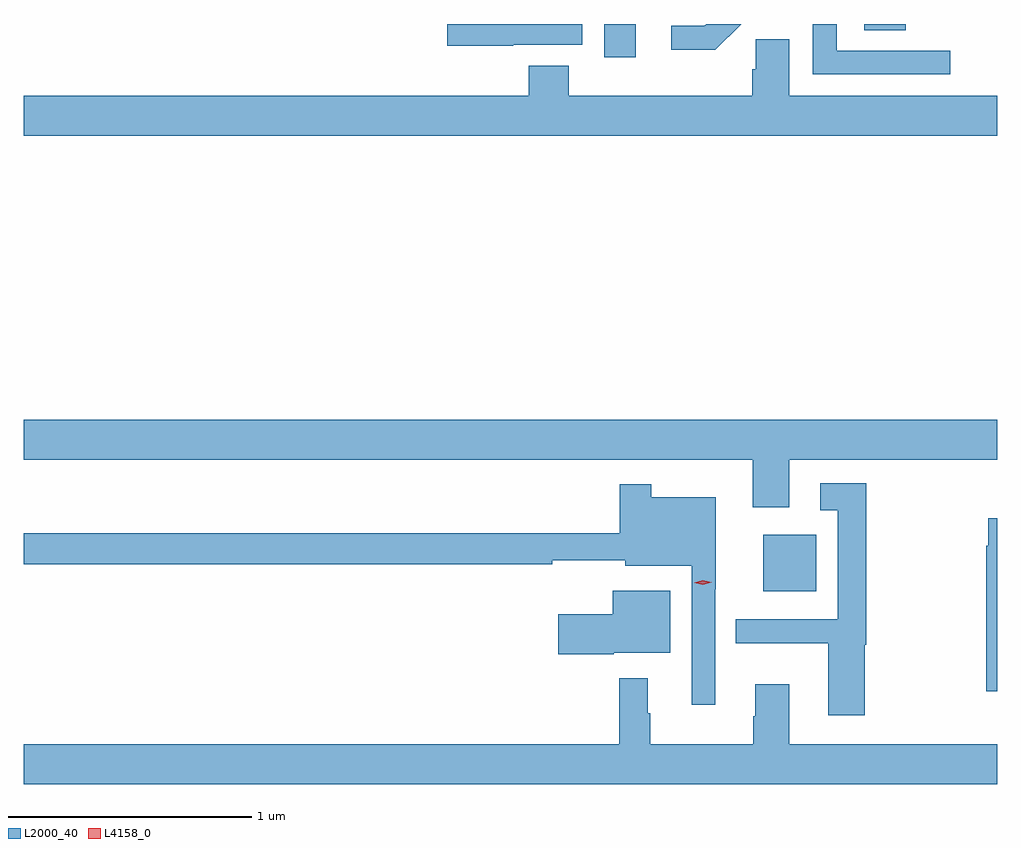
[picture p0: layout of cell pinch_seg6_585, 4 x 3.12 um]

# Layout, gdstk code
import gdstk
lib = gdstk.Library(unit=1e-6, precision=1e-09)
def R(c, l, rs):  # rectangles x0, y0, x1, y1
    for r in rs: c.add(gdstk.rectangle(r[:2], r[2:], *l))
def P(c, l, *ps):  # polygons
    for p in ps: c.add(gdstk.Polygon(p, *l))
L2000_40 = (2000, 40)
L4158_0 = (4158, 0)

pinch_seg6_585 = lib.new_cell('pinch_seg6_585')
R(pinch_seg6_585, L2000_40, [(432.596,961.448,432.814,961.681), (431.943,963.642,432.073,963.779), (433.011,963.754,433.183,963.779)])
P(pinch_seg6_585, L2000_40, [(432.506,963.779),(432.362,963.779),(432.354,963.771),(432.219,963.771),(432.219,963.674),(432.4,963.674)],
  [(431.569,963.693),(431.853,963.693),(431.853,963.779),(431.299,963.779),(431.299,963.689),(431.569,963.689)],
  [(433.366,963.669),(432.898,963.669),(432.898,963.779),(432.801,963.779),(432.801,963.573),(433.366,963.573)],
  [(433.558,963.484),(432.703,963.484),(432.703,963.716),(432.565,963.716),(432.565,963.594),(432.551,963.594),(432.551,963.484),(431.798,963.484),(431.798,963.608),(431.633,963.608),(431.633,963.484),(429.558,963.484),(429.558,963.32),(433.558,963.32)],
  [(432.703,961.988),(433.558,961.988),(433.558,962.152),(429.558,962.152),(429.558,961.988),(432.554,961.988),(432.554,961.794),(432.703,961.794)],
  [(433.013,961.229),(433.019,961.229),(433.019,961.891),(432.831,961.891),(432.831,961.781),(432.903,961.781),(432.903,961.332),(432.484,961.332),(432.484,961.235),(432.863,961.235),(432.863,960.939),(433.013,960.939)],
  [(432.399,961.457),(432.401,961.457),(432.401,961.834),(432.136,961.834),(432.136,961.888),(432.007,961.888),(432.007,961.687),(429.558,961.687),(429.558,961.558),(431.73,961.558),(431.73,961.576),(432.03,961.576),(432.03,961.553),(432.303,961.553),(432.303,960.981),(432.399,960.981)],
  [(433.558,961.747),(433.521,961.747),(433.521,961.634),(433.513,961.634),(433.513,961.037),(433.558,961.037)],
  [(431.982,961.196),(432.214,961.196),(432.214,961.45),(431.978,961.45),(431.978,961.354),(431.754,961.354),(431.754,961.189),(431.982,961.189)],
  [(433.558,960.82),(432.703,960.82),(432.703,961.066),(432.563,961.066),(432.563,960.935),(432.556,960.935),(432.556,960.82),(432.133,960.82),(432.133,960.947),(432.122,960.947),(432.122,961.09),(432.004,961.09),(432.004,960.82),(429.558,960.82),(429.558,960.656),(433.558,960.656)])
P(pinch_seg6_585, L4158_0, [(432.349,961.474),(432.313,961.483),(432.313,961.483),(432.313,961.483),(432.348,961.494),(432.384,961.486),(432.384,961.486),(432.384,961.486)])

lib.write_gds('pinch_seg6_585.gds')
